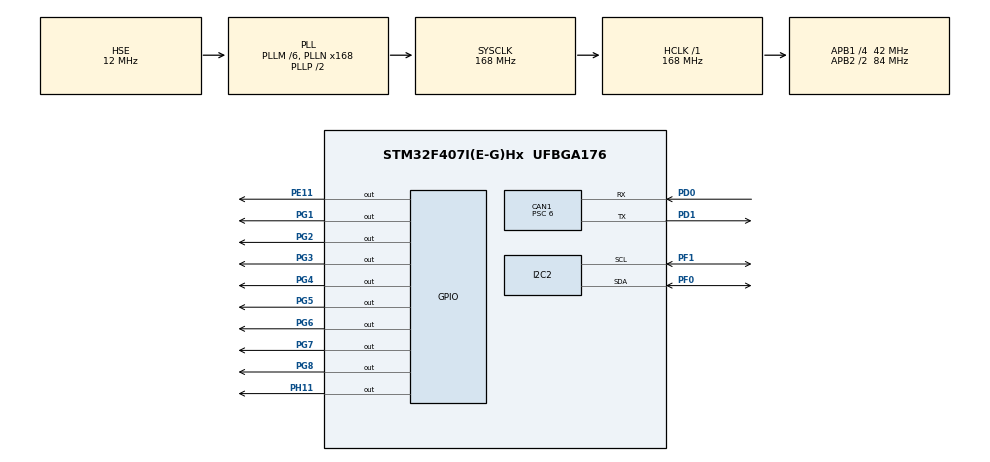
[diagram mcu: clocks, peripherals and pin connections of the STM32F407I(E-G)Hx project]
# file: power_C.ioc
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CAN1.ABOM=ENABLE
CAN1.BS1=CAN_BS1_3TQ
CAN1.BS2=CAN_BS2_3TQ
CAN1.CalculateBaudRate=1000000
CAN1.CalculateTimeBit=1000
CAN1.CalculateTimeQuantum=142.85714285714286
CAN1.Prescaler=6
CAN1.TXFP=ENABLE
I2C2.OwnAddress=0
Mcu.Family=STM32F4
Mcu.Name=STM32F407I(E-G)Hx
Mcu.Package=UFBGA176
NVIC.CAN1_RX0_IRQn=true\:0\:0\:false\:false\:true\:true\:true\:true
NVIC.CAN1_TX_IRQn=true\:0\:0\:false\:false\:true\:true\:true\:true
NVIC.PriorityGroup=NVIC_PRIORITYGROUP_4
NVIC.TIM1_BRK_TIM9_IRQn=true\:0\:0\:false\:false\:true\:true\:true\:true
NVIC.TIM1_CC_IRQn=true\:0\:0\:false\:false\:true\:true\:true\:true
NVIC.TIM1_TRG_COM_TIM11_IRQn=true\:0\:0\:false\:false\:true\:true\:true\:true
NVIC.TIM1_UP_TIM10_IRQn=true\:0\:0\:false\:false\:true\:true\:true\:true
PA13.Mode=Serial_Wire
PA13.Signal=SYS_JTMS-SWDIO
PA14.Mode=Serial_Wire
PA14.Signal=SYS_JTCK-SWCLK
PD0.Mode=CAN_Activate
PD0.Signal=CAN1_RX
PD1.Mode=CAN_Activate
PD1.Signal=CAN1_TX
PE11.GPIO_PuPd=GPIO_PULLUP
PE11.GPIO_Speed=GPIO_SPEED_FREQ_HIGH
PE11.PinState=GPIO_PIN_SET
PE11.Signal=GPIO_Output
PF0.Mode=I2C
PF0.Signal=I2C2_SDA
PF1.Mode=I2C
PF1.Signal=I2C2_SCL
PG1.GPIO_Speed=GPIO_SPEED_FREQ_HIGH
PG1.PinState=GPIO_PIN_SET
PG1.Signal=GPIO_Output
PG2.GPIO_PuPd=GPIO_NOPULL
PG2.GPIO_Speed=GPIO_SPEED_FREQ_HIGH
PG2.PinState=GPIO_PIN_SET
PG2.Signal=GPIO_Output
PG3.GPIO_Speed=GPIO_SPEED_FREQ_HIGH
PG3.PinState=GPIO_PIN_SET
PG3.Signal=GPIO_Output
PG4.GPIO_Speed=GPIO_SPEED_FREQ_HIGH
PG4.PinState=GPIO_PIN_SET
PG4.Signal=GPIO_Output
PG5.GPIO_Speed=GPIO_SPEED_FREQ_HIGH
PG5.PinState=GPIO_PIN_SET
PG5.Signal=GPIO_Output
PG6.GPIO_Speed=GPIO_SPEED_FREQ_HIGH
PG6.PinState=GPIO_PIN_SET
PG6.Signal=GPIO_Output
PG7.GPIO_Speed=GPIO_SPEED_FREQ_HIGH
PG7.PinState=GPIO_PIN_SET
PG7.Signal=GPIO_Output
PG8.GPIO_Speed=GPIO_SPEED_FREQ_HIGH
PG8.PinState=GPIO_PIN_SET
PG8.Signal=GPIO_Output
PH0-OSC_IN.Mode=HSE-External-Oscillator
PH0-OSC_IN.Signal=RCC_OSC_IN
PH1-OSC_OUT.Mode=HSE-External-Oscillator
PH1-OSC_OUT.Signal=RCC_OSC_OUT
PH11.GPIO_Speed=GPIO_SPEED_FREQ_HIGH
PH11.PinState=GPIO_PIN_SET
PH11.Signal=GPIO_Output
ProjectManager.HeapSize=0x200
ProjectManager.StackSize=0x400
ProjectManager.TargetToolchain=MDK-ARM V5.32
RCC.48MHZClocksFreq_Value=84000000
RCC.AHBFreq_Value=168000000
RCC.APB1CLKDivider=RCC_HCLK_DIV4
RCC.APB1Freq_Value=42000000
RCC.APB1TimFreq_Value=84000000
RCC.APB2CLKDivider=RCC_HCLK_DIV2
RCC.APB2Freq_Value=84000000
RCC.APB2TimFreq_Value=168000000
RCC.CortexFreq_Value=168000000
RCC.HCLKFreq_Value=168000000
RCC.HSE_VALUE=12000000
RCC.HSI_VALUE=16000000
RCC.LSE_VALUE=32768
RCC.PLLM=6
RCC.PLLN=168
RCC.PLLSourceVirtual=RCC_PLLSOURCE_HSE
RCC.SYSCLKFreq_VALUE=168000000
RCC.SYSCLKSource=RCC_SYSCLKSOURCE_PLLCLK
RCC.VCOOutputFreq_Value=336000000
TIM1.AutoReloadPreload=TIM_AUTORELOAD_PRELOAD_ENABLE
TIM1.Period=10000-1
TIM1.Prescaler=16800-1
VP_TIM1_VS_ClockSourceINT.Mode=Internal
board=custom

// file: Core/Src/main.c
/* USER CODE BEGIN Header */
/**
 ******************************************************************************
 * @file           : main.c
 * @brief          : Main program body
 ******************************************************************************
 * @attention
 *
 * Copyright (c) 2024 STMicroelectronics.
 * All rights reserved.
 *
 * This software is licensed under terms that can be found in the LICENSE file
 * in the root directory of this software component.
 * If no LICENSE file comes with this software, it is provided AS-IS.
 *
 ******************************************************************************
 */
/* USER CODE END Header */
#include "main.h"
#include "can.h"
#include "i2c.h"
#include "tim.h"
#include "gpio.h"

/* USER CODE BEGIN Includes */
#include "bsp_delay.h"
#include "INA266.h"
#include "user_can.h"
#include "PID.h"
#include "user_can.h"
#include "PowerConrtol.h"
#include "arm_math.h"
/* USER CODE END Includes */

/* USER CODE BEGIN PTD */
#define PowerControl ENABLE
#define MotorControl ENABLE
#define Detect__Mode ENABLE

/* USER CODE END PTD */

/* USER CODE BEGIN PM */
Robermaster robermaster = RobermasterC;
/* USER CODE END PM */

/* USER CODE BEGIN PV */
float current = 0;
float voltage = 0;
float power = 0;

uint16_t detaTime;
uint16_t lastTime;
uint16_t currentTime;

int16_t setV[MOTOR_NUM];
int16_t setV_SLope[MOTOR_NUM];
int16_t setCurrent[MOTOR_NUM];
uint32_t setAngle[MOTOR_NUM] = {3000, 3000};
PID pid_V[MOTOR_NUM];
PID BufferPid;
CascadePID pid_ANGLE[MOTOR_NUM];
uint16_t ID[MOTOR_NUM];
AutoFox_INA226 ina226;
SingleMotor motors[MOTOR_NUM];
int state = 0;
extern CONTROL_MODE control_mode;
extern fp32 RealBuffer;
fp32 powerPredict;

float paramVector[3][1] = {0};
float transVector[3][3] = {0.000025, 0, 0,
                           0, 0.000025, 0,
                           0, 0, 0.000025};
float kainVector[3][1] = {0};
float Xsample[3][1] = {0};
float Ysample[1][1] = {0};
float lamdaPowerAutoUpdate = 0.9999;

float TRANS_M_X[3][1] = {0};
float XT[1][3] = {0};
float XT_M_TRANS[1][3] = {0};
float XT_M_TRANS_M_X[1][1] = {0};
float XT_M_PARAM[1][1] = {0};
float deta_PARAM[3][1] = {0};

float lastParamVector[3][1] = {0};
float lastTrans[3][3] = {0};

float KAIN_M_XT[3][3] = {0};
float KAIN_M_XT_M_TRANS[3][3] = {0};

arm_matrix_instance_f32 paramMatrix;
arm_matrix_instance_f32 transMatrix;
arm_matrix_instance_f32 kainMatrix;
arm_matrix_instance_f32 XsampleMatrix;
arm_matrix_instance_f32 YsampleMatrix;
arm_matrix_instance_f32 TRANS_M_XMatrix;
arm_matrix_instance_f32 XTMatrix;
arm_matrix_instance_f32 XT_M_TRANSMatrix;
arm_matrix_instance_f32 XT_M_TRANS_M_XMatrix;
arm_matrix_instance_f32 XT_M_PARAMMatrix;
arm_matrix_instance_f32 deta_PARAMMatrix;
arm_matrix_instance_f32 lastParamMatrix;
arm_matrix_instance_f32 lastTransMatrix;
arm_matrix_instance_f32 KAIN_M_XTMatrix;
arm_matrix_instance_f32 KAIN_M_XT_M_TRANSMatrix;
extern float a;
void PowerControl_AutoUpdateParamInit()
{
  paramVector[0][0] = 1.534e-07;
  paramVector[1][0] = a;
  paramVector[2][0] = 0.78;
  arm_mat_init_f32(&paramMatrix, 3, 1, (float *)paramVector);
  arm_mat_init_f32(&transMatrix, 3, 3, (float *)transVector);
  arm_mat_init_f32(&kainMatrix, 3, 1, (float *)kainVector);
  arm_mat_init_f32(&XsampleMatrix, 3, 1, (float *)Xsample);
  arm_mat_init_f32(&YsampleMatrix, 1, 1, (float *)Ysample);
  arm_mat_init_f32(&TRANS_M_XMatrix, 3, 1, (float *)TRANS_M_X);
  arm_mat_init_f32(&XTMatrix, 1, 3, (float *)XT);
  arm_mat_init_f32(&XT_M_TRANSMatrix, 1, 3, (float *)XT_M_TRANS);
  arm_mat_init_f32(&XT_M_TRANS_M_XMatrix, 1, 1, (float *)XT_M_TRANS_M_X);
  arm_mat_init_f32(&XT_M_PARAMMatrix, 1, 1, (float *)XT_M_PARAM);
  arm_mat_init_f32(&deta_PARAMMatrix, 3, 1, (float *)deta_PARAM);
  arm_mat_init_f32(&lastParamMatrix, 3, 1, (float *)lastParamVector);
  arm_mat_init_f32(&lastTransMatrix, 3, 3, (float *)lastTrans);
  arm_mat_init_f32(&KAIN_M_XTMatrix, 3, 3, (float *)KAIN_M_XT);
  arm_mat_init_f32(&KAIN_M_XT_M_TRANSMatrix, 3, 3, (float *)KAIN_M_XT_M_TRANS);
}
uint16_t measurePower = 0;
extern fp32 toque_coefficient; // (20/16384)*(0.3)*(187/3591)/9.55

void PowerControl_AutoUpdateParam() // 在功率控制后，发送电流前
{
  measurePower = power;
  Xsample[0][0] = motors[0].speed * motors[0].speed; // 电机速度平方和
  Xsample[1][0] = pid_V->output * pid_V->output;     // 电机电流平方和
  Xsample[2][0] = 1;                                 // 常数项
  Ysample[0][0] = power - setCurrent[0] * toque_coefficient * motors[0].speed;
  if (measurePower > 1)
  {
    arm_mat_trans_f32(&XsampleMatrix, &XTMatrix);
    arm_mat_mult_f32(&transMatrix, &XsampleMatrix, &TRANS_M_XMatrix);
    arm_mat_mult_f32(&XTMatrix, &transMatrix, &XT_M_TRANSMatrix);
    arm_mat_mult_f32(&XT_M_TRANSMatrix, &XsampleMatrix, &XT_M_TRANS_M_XMatrix);
    arm_mat_scale_f32(&TRANS_M_XMatrix,
                      1.0f / (1 + (XT_M_TRANS_M_X[0][0] / lamdaPowerAutoUpdate) / lamdaPowerAutoUpdate),
                      &kainMatrix);

    arm_mat_mult_f32(&XTMatrix, &paramMatrix, &XT_M_PARAMMatrix);
    arm_mat_scale_f32(&kainMatrix, Ysample[0][0] - XT_M_PARAM[0][0], &deta_PARAMMatrix);

    arm_mat_scale_f32(&paramMatrix, 1.0f, &lastParamMatrix);
    arm_mat_add_f32(&lastParamMatrix, &deta_PARAMMatrix, &paramMatrix);

    arm_mat_mult_f32(&kainMatrix, &XTMatrix, &KAIN_M_XTMatrix);
    arm_mat_mult_f32(&KAIN_M_XTMatrix, &transMatrix, &KAIN_M_XT_M_TRANSMatrix);
    arm_mat_scale_f32(&transMatrix, 1.0f, &lastTransMatrix);
    arm_mat_sub_f32(&lastTransMatrix, &KAIN_M_XT_M_TRANSMatrix, &transMatrix);
  }
  powerPredict = setCurrent[0] * toque_coefficient * motors[0].speed + paramVector[0][0] * Xsample[0][0] + paramVector[1][0] * Xsample[1][0] + paramVector[2][0] * Xsample[2][0];
}
/* USER CODE END PV */

void SystemClock_Config(void);

int main(void)
{

  /* MCU Configuration--------------------------------------------------------*/

  /* Reset of all peripherals, Initializes the Flash interface and the Systick. */
  HAL_Init();

  /* Configure the system clock */
  SystemClock_Config();

  /* Initialize all configured peripherals */
  MX_GPIO_Init();
  MX_I2C2_Init();
  MX_CAN1_Init();
  MX_TIM1_Init();
  /* USER CODE BEGIN 2 */
  delay_init();
  size_t inastatus;
  HAL_TIM_Base_Start_IT(&htim1);
  AutoFox_INA226_Constructor(&ina226); // Initialize the INA226
  inastatus = AutoFox_INA226_Init(&ina226, 0x40, 10e-3, 10.0f);
  CAN_Init();
  for (int i = 0; i < MOTOR_NUM; i++)
  {
    PID_Init(&pid_V[i], 8, 0, 1, 0, 16000);
    PID_Init(&pid_ANGLE[i].outer, 0.2, 0, 0, 0, 8000);
    PID_Init(&pid_ANGLE[i].inner, 6, 0, 4, 0, 16000);
  }
  PowerControl_AutoUpdateParamInit();
  /* USER CODE END 2 */

  /* Infinite loop */
  /* USER CODE BEGIN WHILE */
  while (1)
  {
    HAL_Delay(1);
    lastTime = currentTime;
    currentTime = HAL_GetTick();
    detaTime = currentTime - lastTime;
    for (int i = 0; i < MOTOR_NUM; i++)
    {
      if (setV_SLope[i] - setV[i] > 5)
      {
        setV_SLope[i] -= 100;
      }
      else if (setV_SLope[i] - setV[i] < -5)
      {
        setV_SLope[i] += 100;
      }
      if (control_mode == CONTROL_ACCLERATE || control_mode == CONTROL_REAL_COMPETE)
      {
        PID_SingleCalc(&pid_V[i], setV_SLope[i], motors[i].speed);
        setCurrent[i] = pid_V[i].output;
      }
      else if (control_mode == CONTROL_POSITION)
      {
        PID_CascadeCalc_totalAngle(&pid_ANGLE[i], setAngle[i], motors[i].totalAngle, motors[i].speed);
        setCurrent[i] = pid_ANGLE[i].inner.output;
        setV[i] = pid_ANGLE[i].outer.output;
      }
    }

    //  voltage = AutoFox_INA226_GetBusVoltage_uV(&ina226) / 1000000.f;
    //  current = AutoFox_INA226_GetCurrent_uA(&ina226) / 1000000.f;
    power = AutoFox_INA226_GetPower_uW(&ina226) / 1000000.f;
    if (PowerControl)
    {
     // Chassis_PowerCtrl();
      PowerControl_AutoUpdateParam();
      // ????????? ????????????????????
    }
    if (Detect__Mode)
      Power_detect();
    if (MotorControl)
      USER_CAN_SetMotorCurrent(&hcan1, 0x200, setCurrent[0], setCurrent[1], 1600, 1600);
    if (robermaster == RobermasterA)
    {
      HAL_GPIO_WritePin(GPIOG, GPIO_PIN_1, GPIO_PIN_SET);
      HAL_GPIO_WritePin(GPIOG, GPIO_PIN_2, GPIO_PIN_SET);
      HAL_GPIO_WritePin(GPIOG, GPIO_PIN_3, GPIO_PIN_SET);
      HAL_GPIO_WritePin(GPIOG, GPIO_PIN_4, GPIO_PIN_SET);
      HAL_GPIO_WritePin(GPIOG, GPIO_PIN_5, GPIO_PIN_SET);
      HAL_GPIO_WritePin(GPIOG, GPIO_PIN_6, GPIO_PIN_SET);
      HAL_GPIO_WritePin(GPIOG, GPIO_PIN_7, GPIO_PIN_SET);
      HAL_GPIO_WritePin(GPIOG, GPIO_PIN_8, GPIO_PIN_SET);
      if (RealBuffer > MAXBUFFER / 8.0 * 1)
        HAL_GPIO_WritePin(GPIOG, GPIO_PIN_1, GPIO_PIN_RESET);
      if (RealBuffer > MAXBUFFER / 8.0 * 2)
        HAL_GPIO_WritePin(GPIOG, GPIO_PIN_2, GPIO_PIN_RESET);
      if (RealBuffer > MAXBUFFER / 8.0 * 3)
        HAL_GPIO_WritePin(GPIOG, GPIO_PIN_3, GPIO_PIN_RESET);
      if (RealBuffer > MAXBUFFER / 8.0 * 4)
        HAL_GPIO_WritePin(GPIOG, GPIO_PIN_4, GPIO_PIN_RESET);
      if (RealBuffer > MAXBUFFER / 8.0 * 5)
        HAL_GPIO_WritePin(GPIOG, GPIO_PIN_5, GPIO_PIN_RESET);
      if (RealBuffer > MAXBUFFER / 8.0 * 6)
        HAL_GPIO_WritePin(GPIOG, GPIO_PIN_6, GPIO_PIN_RESET);
      if (RealBuffer > MAXBUFFER / 8.0 * 7)
        HAL_GPIO_WritePin(GPIOG, GPIO_PIN_7, GPIO_PIN_RESET);
      if (RealBuffer >= MAXBUFFER / 8.0 * 8)
        HAL_GPIO_WritePin(GPIOG, GPIO_PIN_8, GPIO_PIN_RESET);
    }
    /* USER CODE END WHILE */

  }
}

void SystemClock_Config(void)
{
  RCC_OscInitTypeDef RCC_OscInitStruct = {0};
  RCC_ClkInitTypeDef RCC_ClkInitStruct = {0};

  /** Configure the main internal regulator output voltage
   */
  __HAL_RCC_PWR_CLK_ENABLE();
  __HAL_PWR_VOLTAGESCALING_CONFIG(PWR_REGULATOR_VOLTAGE_SCALE1);

  /** Initializes the RCC Oscillators according to the specified parameters
   * in the RCC_OscInitTypeDef structure.
   */
  RCC_OscInitStruct.OscillatorType = RCC_OSCILLATORTYPE_HSE;
  RCC_OscInitStruct.HSEState = RCC_HSE_ON;
  RCC_OscInitStruct.PLL.PLLState = RCC_PLL_ON;
  RCC_OscInitStruct.PLL.PLLSource = RCC_PLLSOURCE_HSE;
  RCC_OscInitStruct.PLL.PLLM = 6;
  RCC_OscInitStruct.PLL.PLLN = 168;
  RCC_OscInitStruct.PLL.PLLP = RCC_PLLP_DIV2;
  RCC_OscInitStruct.PLL.PLLQ = 4;
  if (HAL_RCC_OscConfig(&RCC_OscInitStruct) != HAL_OK)
  {
    Error_Handler();
  }

  /** Initializes the CPU, AHB and APB buses clocks
   */
  RCC_ClkInitStruct.ClockType = RCC_CLOCKTYPE_HCLK | RCC_CLOCKTYPE_SYSCLK | RCC_CLOCKTYPE_PCLK1 | RCC_CLOCKTYPE_PCLK2;
  RCC_ClkInitStruct.SYSCLKSource = RCC_SYSCLKSOURCE_PLLCLK;
  RCC_ClkInitStruct.AHBCLKDivider = RCC_SYSCLK_DIV1;
  RCC_ClkInitStruct.APB1CLKDivider = RCC_HCLK_DIV4;
  RCC_ClkInitStruct.APB2CLKDivider = RCC_HCLK_DIV2;

  if (HAL_RCC_ClockConfig(&RCC_ClkInitStruct, FLASH_LATENCY_5) != HAL_OK)
  {
    Error_Handler();
  }
}

/* USER CODE BEGIN 4 */
void control_real_compete(void);
void control_acclerate(void);
void control_position(void);
/* USER CODE END 4 */

void Error_Handler(void)
{
  __disable_irq();
  while (1)
  {
  }
}
